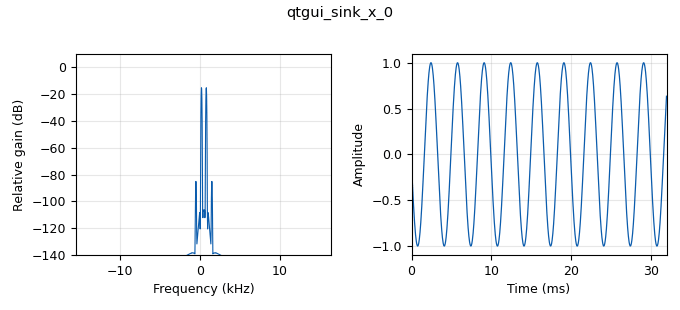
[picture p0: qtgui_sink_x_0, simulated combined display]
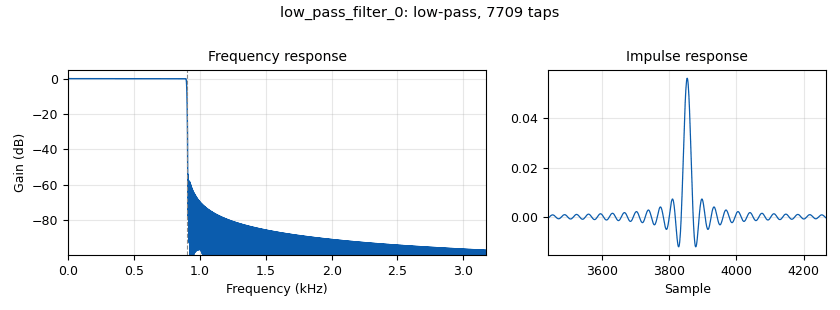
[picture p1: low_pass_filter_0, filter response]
<?xml version='1.0' encoding='utf-8'?>
<?grc format='1' created='3.7.7'?>
<flow_graph>
<block>
<key>analog_sig_source_x</key>
<param><key>id</key><value>analog_sig_source_x_0</value></param>
<param><key>type</key><value>complex</value></param>
<param><key>samp_rate</key><value>samp_rate</value></param>
<param><key>waveform</key><value>analog.GR_COS_WAVE</value></param>
<param><key>freq</key><value>1000</value></param>
<param><key>amp</key><value>1</value></param>
<param><key>offset</key><value>0</value></param>
</block>
<block>
<key>variable</key>
<param><key>id</key><value>samp_rate</value></param>
<param><key>value</key><value>32000</value></param>
</block>
<block>
<key>blocks_add_xx</key>
<param><key>id</key><value>blocks_add_xx_0</value></param>
<param><key>type</key><value>complex</value></param>
</block>
<block>
<key>qtgui_sink_x</key>
<param><key>id</key><value>qtgui_sink_x_0</value></param>
<param><key>type</key><value>float</value></param>
<param><key>fftsize</key><value>1024</value></param>
<param><key>wintype</key><value>firdes.WIN_BLACKMAN_hARRIS</value></param>
<param><key>fc</key><value>500</value></param>
<param><key>bw</key><value>samp_rate</value></param>
<param><key>showrf</key><value>True</value></param>
<param><key>plotwaterfall</key><value>False</value></param>
<param><key>plotconst</key><value>False</value></param>
<param><key>freqchangevar</key><value>None</value></param>
<param><key>showports</key><value>True</value></param>
</block>
<block>
<key>variable_qtgui_range</key>
<param><key>id</key><value>mic_freq_slider</value></param>
<param><key>label</key><value>Input Freq</value></param>
<param><key>value</key><value>300</value></param>
<param><key>start</key><value>300</value></param>
<param><key>stop</key><value>3e3</value></param>
<param><key>step</key><value>10</value></param>
<param><key>orient</key><value>Qt.Horizontal</value></param>
</block>
<block>
<key>analog_sig_source_x</key>
<param><key>id</key><value>analog_sig_source_x_1</value></param>
<param><key>type</key><value>complex</value></param>
<param><key>samp_rate</key><value>samp_rate</value></param>
<param><key>waveform</key><value>analog.GR_COS_WAVE</value></param>
<param><key>freq</key><value>mic_freq_slider</value></param>
<param><key>amp</key><value>1</value></param>
<param><key>offset</key><value>0</value></param>
</block>
<block>
<key>low_pass_filter</key>
<param><key>id</key><value>low_pass_filter_0</value></param>
<param><key>type</key><value>fir_filter_ccf</value></param>
<param><key>decim</key><value>1</value></param>
<param><key>gain</key><value>1</value></param>
<param><key>samp_rate</key><value>samp_rate</value></param>
<param><key>cutoff_freq</key><value>900</value></param>
<param><key>width</key><value>10</value></param>
<param><key>win</key><value>firdes.WIN_HAMMING</value></param>
</block>
<block>
<key>blocks_complex_to_float</key>
<param><key>id</key><value>blocks_complex_to_float_0</value></param>
</block>
<block>
<key>options</key>
<param><key>id</key><value>ssb_modulation</value></param>
<param><key>title</key><value>SSB modulation</value></param>
<param><key>author</key><value>haxwithaxe</value></param>
<param><key>description</key><value>Learning about modulation and demodulation.</value></param>
<param><key>generate_options</key><value>qt_gui</value></param>
<param><key>category</key><value>Custom</value></param>
</block>
<block>
<key>blocks_throttle</key>
<param><key>id</key><value>blocks_throttle_0</value></param>
<param><key>type</key><value>complex</value></param>
<param><key>samples_per_second</key><value>samp_rate</value></param>
</block>
<connection><source_block_id>blocks_complex_to_float_0</source_block_id><sink_block_id>qtgui_sink_x_0</sink_block_id><source_key>0</source_key><sink_key>0</sink_key></connection>
<connection><source_block_id>analog_sig_source_x_1</source_block_id><sink_block_id>blocks_add_xx_0</sink_block_id><source_key>0</source_key><sink_key>1</sink_key></connection>
<connection><source_block_id>analog_sig_source_x_0</source_block_id><sink_block_id>blocks_add_xx_0</sink_block_id><source_key>0</source_key><sink_key>0</sink_key></connection>
<connection><source_block_id>blocks_add_xx_0</source_block_id><sink_block_id>blocks_throttle_0</sink_block_id><source_key>0</source_key><sink_key>0</sink_key></connection>
<connection><source_block_id>blocks_throttle_0</source_block_id><sink_block_id>low_pass_filter_0</sink_block_id><source_key>0</source_key><sink_key>0</sink_key></connection>
<connection><source_block_id>low_pass_filter_0</source_block_id><sink_block_id>blocks_complex_to_float_0</sink_block_id><source_key>0</source_key><sink_key>0</sink_key></connection>
</flow_graph>
